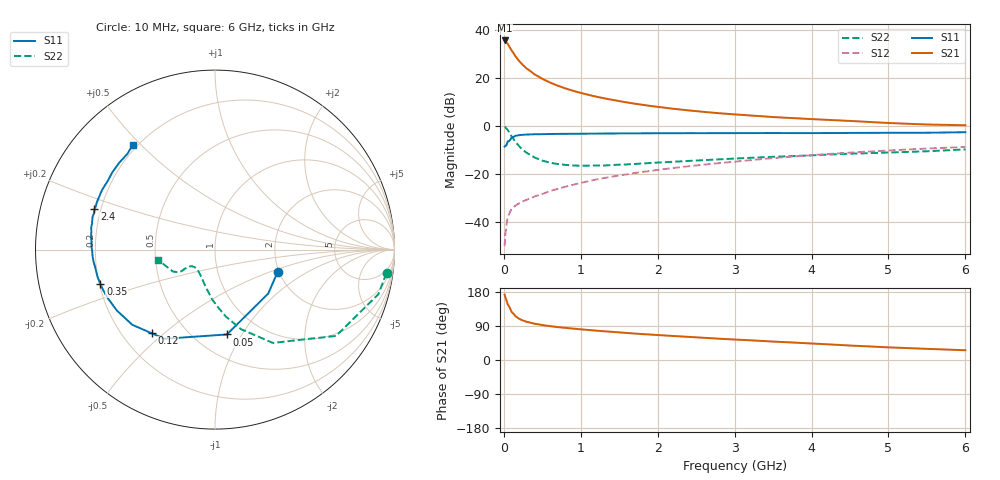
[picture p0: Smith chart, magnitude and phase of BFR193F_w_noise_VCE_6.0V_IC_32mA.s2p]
! Infineon Technologies  Discrete & RF Semiconductors
! BFR193F
! VCE =  6.0 V,  IC =  32 mA
! Common Emitter S-Parameters:  Jan 2017
# GHz  S  MA  R  50
!  f  S11  S21  S12  S22
! GHz  MAG  ANG  MAG  ANG  MAG  ANG  MAG  ANG
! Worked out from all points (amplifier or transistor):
!   77 points, 10 MHz to 6 GHz, reference 50 ohm
!   highest |S21| = 35.7 dB at 10 MHz (marker M1)
!   |S21| within 3 dB of that: start of sweep to 79.2 MHz
!   unconditionally stable (mu >= 1): 1.07 GHz to 2.61 GHz
!   at 130 MHz: K = 0.38, MSG = 32.0 dB, |S12| = -33.8 dB
!   at 2.2 GHz: K = 1.02, MAG = 11.5 dB, |S12| = -17.6 dB
!   at 6 GHz: K = 0.86, MSG = 4.5 dB, |S12| = -8.8 dB
!   lowest NFmin = 1.21 dB at 450 MHz
!   S11 on the Smith chart (normalised r, x): 10 MHz: 1.96, -0.57; 50 MHz: 0.71, -0.86; 120 MHz: 0.32, -0.46; 350 MHz: 0.20, -0.14; 2.4 GHz: 0.18, +0.16; 6 GHz: 0.18, +0.47
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0.01  0.3706 -19.7  60.9 172.7  0.0031 87.9  0.9646 -7.8
0.02  0.3846 -39.6  59.08 165.3  0.0056 79.0  0.9435 -15.3
0.05  0.4774 -82.0  51.83 147.1  0.0122 64.9  0.8281 -35.5
0.1  0.571 -119.5  38.06 126.9  0.0186 54.0  0.6119 -58.2
0.12  0.5844 -127.1  34.15 123.2  0.0199 51.8  0.5502 -62.8
0.15  0.6227 -137.7  28.65 115.8  0.0218 49.0  0.4664 -71.9
0.2  0.6434 -148.1  22.58 108.7  0.0243 50.1  0.3771 -80.9
0.25  0.6553 -155.4  18.49 104.1  0.0268 50.5  0.313 -88.2
0.3  0.6629 -160.0  15.67 100.6  0.0289 52.4  0.2734 -93.9
0.35  0.6662 -163.4  13.79 98.4  0.0313 54.4  0.2455 -97.9
0.4  0.6719 -166.8  11.93 95.6  0.0338 56.1  0.2192 -103.0
0.5  0.6741 -170.9  9.628 92.2  0.0381 59.2  0.1896 -110.1
0.6  0.6799 -174.3  8.069 89.3  0.0438 61.7  0.1708 -116.4
0.8  0.6841 -179.0  6.083 84.8  0.054 65.6  0.1538 -126.3
1.1  0.6908 175.7  4.459 79.2  0.0704 69.0  0.1487 -135.3
1.5  0.6991 170.6  3.302 72.9  0.0931 70.9  0.156 -142.7
2.1  0.7051 164.2  2.396 64.7  0.1267 71.7  0.1756 -147.1
2.4  0.708 161.5  2.113 61.0  0.1441 71.8  0.1863 -147.7
3.1  0.7093 155.5  1.701 53.0  0.1864 70.7  0.2125 -147.2
4.1  0.7104 146.7  1.367 42.5  0.2522 67.2  0.2477 -149.6
5.1  0.7204 136.8  1.137 32.6  0.3139 62.0  0.2826 -159.6
6  0.7408 128.3  1.035 25.7  0.3647 56.8  0.3245 -169.7
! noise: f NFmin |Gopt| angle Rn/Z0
0.45  1.21  0.4  177  0.06
0.9  1.3  0.43  177  0.07
1.9  1.86  0.58  -167  0.07
2.4  2.15  0.61  -158  0.12
